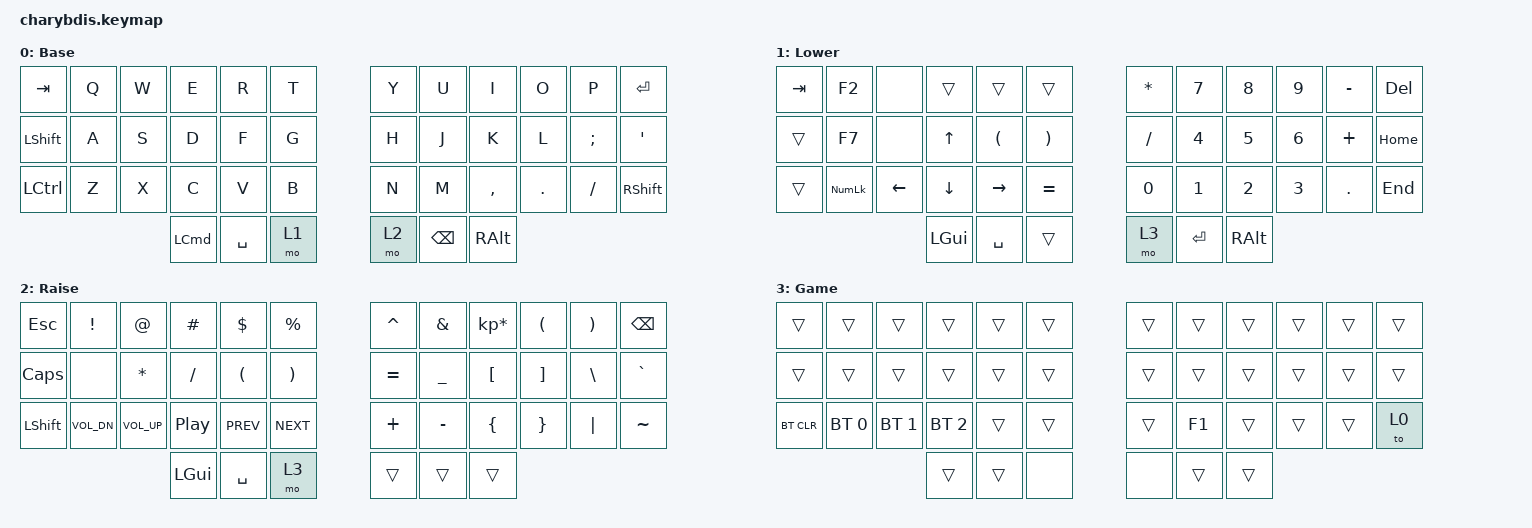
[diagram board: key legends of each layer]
#include <behaviors.dtsi>
#include <dt-bindings/zmk/keys.h>
#include <dt-bindings/zmk/bt.h>
#include <dt-bindings/zmk/ext_power.h>
#include <dt-bindings/zmk/mouse.h>
#include <dt-bindings/zmk/outputs.h>

/ {
    trackball_listener {
        compatible = "zmk,input-behavior-listener";
        device = <&vtrackball>;
        layers = <0 2 3 4 5>;
        evt-type = <INPUT_EV_REL>;
        x-input-code = <INPUT_REL_X>;
        y-input-code = <INPUT_REL_Y>;
        scale-multiplier = <1>;
        scale-divisor = <4>;
        bindings = <&ib_toggle_layer 5>;
    };

    trackball_snipe_listener {
        compatible = "zmk,input-behavior-listener";   
        device = <&vtrackball>;
        layers = <>;
        evt-type = <INPUT_EV_REL>;
        x-input-code = <INPUT_REL_X>;
        y-input-code = <INPUT_REL_Y>;
        scale-multiplier = <1>;
        scale-divisor = <12>;
    };

    trackball_scroll_listener {
        compatible = "zmk,input-behavior-listener";
        device = <&vtrackball>;
        layers = <1>;
        evt-type = <INPUT_EV_REL>;            
        x-input-code = <INPUT_REL_MISC>;
        y-input-code = <INPUT_REL_WHEEL>;
        y-invert;
        bindings = <&ib_wheel_scaler 1 16>;
    };

    ib_wheel_scaler: ib_wheel_scaler {
        compatible = "zmk,input-behavior-scaler";
        #binding-cells = <2>;
        evt-type = <INPUT_EV_REL>;
        input-code = <INPUT_REL_WHEEL>;
    };

    ib_toggle_layer: ib_toggle_layer {
        compatible = "zmk,input-behavior-tog-layer";
        #binding-cells = <1>;
        time-to-live-ms = <750>;
    };

    behaviors {
        lt: layer_tap {
            compatible = "zmk,behavior-hold-tap";
            #binding-cells = <2>;
            flavor = "balanced";
            tapping-term-ms = <240>;
            quick-tap-ms = <150>;
            bindings = 
                <&mo>,
                <&kp>;
        };
    };

    keymap {
        compatible = "zmk,keymap";

        Base {
            label = "Base";
            bindings = <
&kp TAB           &kp Q  &kp W  &kp E             &kp R      &kp T    &kp Y  &kp U          &kp I          &kp O    &kp P     &kp ENTER
&kp LEFT_SHIFT    &kp A  &kp S  &kp D             &kp F      &kp G    &kp H  &kp J          &kp K          &kp L    &kp SEMI  &kp APOS
&kp LEFT_CONTROL  &kp Z  &kp X  &kp C             &kp V      &kp B    &kp N  &kp M          &kp COMMA      &kp DOT  &kp FSLH  &kp RSHIFT
                                &kp LEFT_COMMAND  &kp SPACE  &mo 1    &mo 2  &kp BACKSPACE  &kp RIGHT_ALT
            >;
        };

        Lower {
            label = "Lower";
            bindings = <
&kp TAB  &kp F2          &none           &trans          &trans                &trans                   &kp ASTRK  &kp N7     &kp N8         &kp N9  &kp MINUS   &kp DELETE
&trans   &kp F7          &none           &kp UP_ARROW    &kp LEFT_PARENTHESIS  &kp RIGHT_PARENTHESIS    &kp SLASH  &kp N4     &kp N5         &kp N6  &kp PLUS    &kp HOME
&trans   &kp KP_NUMLOCK  &kp LEFT_ARROW  &kp DOWN_ARROW  &kp RIGHT_ARROW       &kp EQUAL                &kp N0     &kp N1     &kp N2         &kp N3  &kp PERIOD  &kp END
                                         &kp LGUI        &kp SPACE             &trans                   &mo 3      &kp ENTER  &kp RIGHT_ALT
            >;
        };

        Raise {
            label = "Raise";
            bindings = <
&kp ESC         &kp EXCL      &kp AT           &kp HASH          &kp DLLR              &kp PRCNT                &kp CARET  &kp AMPS   &kp KP_MULTIPLY  &kp LPAR  &kp RPAR  &kp BACKSPACE
&kp CAPSLOCK    &none         &kp ASTRK        &kp SLASH         &kp LEFT_PARENTHESIS  &kp RIGHT_PARENTHESIS    &kp EQUAL  &kp UNDER  &kp LBKT         &kp RBKT  &kp BSLH  &kp GRAVE
&kp LEFT_SHIFT  &kp C_VOL_DN  &kp C_VOLUME_UP  &kp C_PLAY_PAUSE  &kp C_PREV            &kp C_NEXT               &kp PLUS   &kp MINUS  &kp LBRC         &kp RBRC  &kp PIPE  &kp TILDE
                                               &kp LGUI          &kp SPACE             &mo 3                    &trans     &trans     &trans
            >;
        };

        Game {
            label = "Game";
            bindings = <
&trans  &trans  &trans  &trans  &trans  &trans                                                          &trans  &trans  &trans  &trans  &trans  &trans
&trans  &trans  &trans  &trans  &trans  &trans                                                         &trans  &trans  &trans  &trans  &trans  &trans
&bt BT_CLR       &bt BT_SEL 0     &bt BT_SEL 1     &bt BT_SEL 2     &trans           &trans             &trans  &kp F1  &trans  &trans  &trans  &to 0
                                                   &trans           &trans           &none              &none   &trans  &trans
            >;
        };
    };
};




